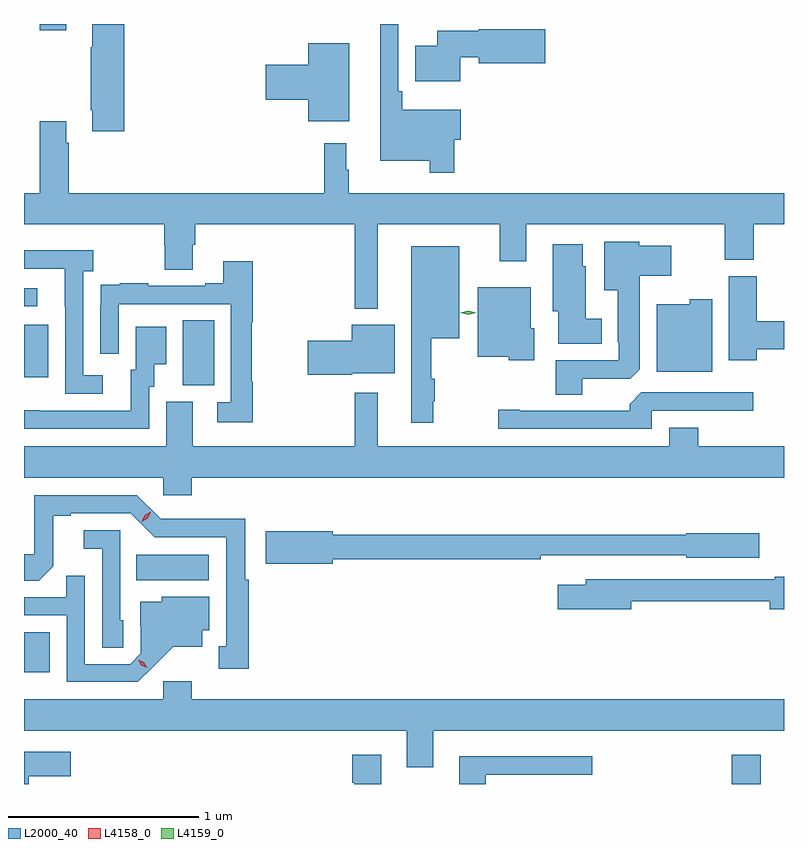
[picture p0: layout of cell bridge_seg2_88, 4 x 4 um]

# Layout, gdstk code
import gdstk
lib = gdstk.Library(unit=1e-6, precision=1e-09)
def R(c, l, rs):  # rectangles x0, y0, x1, y1
    for r in rs: c.add(gdstk.rectangle(r[:2], r[2:], *l))
def P(c, l, *ps):  # polygons
    for p in ps: c.add(gdstk.Polygon(p, *l))
L2000_40 = (2000, 40)
L4158_0 = (4158, 0)
L4159_0 = (4159, 0)

bridge_seg2_88 = lib.new_cell('bridge_seg2_88')
R(bridge_seg2_88, L2000_40, [(327.647,639.363,327.799,639.517), (323.922,639.95,324.058,640.162), (324.514,640.436,324.895,640.57), (324.758,641.461,324.922,641.804), (323.922,641.505,324.049,641.779), (323.922,641.877,323.992,641.973), (324.005,643.329,324.145,643.363)])
P(bridge_seg2_88, L2000_40, [(324.449,643.363),(324.281,643.363),(324.281,643.241),(324.274,643.241),(324.274,642.91),(324.281,642.91),(324.281,642.798),(324.449,642.798)],
  [(326.186,642.755),(326.221,642.755),(326.221,642.913),(325.913,642.913),(325.913,643.009),(325.893,643.009),(325.893,643.363),(325.796,643.363),(325.796,642.644),(326.058,642.644),(326.058,642.579),(326.186,642.579)],
  [(326.218,643.187),(326.316,643.187),(326.316,643.157),(326.665,643.157),(326.665,643.335),(326.316,643.335),(326.316,643.327),(326.096,643.327),(326.096,643.249),(325.982,643.249),(325.982,643.061),(326.218,643.061)],
  [(325.633,643.261),(325.418,643.261),(325.418,643.148),(325.194,643.148),(325.194,642.965),(325.418,642.965),(325.418,642.851),(325.633,642.851)],
  [(325.783,642.308),(326.426,642.308),(326.426,642.114),(326.566,642.114),(326.566,642.308),(327.611,642.308),(327.611,642.121),(327.764,642.121),(327.764,642.308),(327.922,642.308),(327.922,642.472),(325.63,642.472),(325.63,642.596),(325.618,642.596),(325.618,642.736),(325.501,642.736),(325.501,642.472),(324.158,642.472),(324.158,642.737),(324.145,642.737),(324.145,642.85),(324.005,642.85),(324.005,642.472),(323.922,642.472),(323.922,642.308),(324.659,642.308),(324.659,642.195),(324.664,642.195),(324.664,642.07),(324.811,642.07),(324.811,642.202),(324.824,642.202),(324.824,642.308),(325.662,642.308),(325.662,641.864),(325.783,641.864)],
  [(326.86,641.496),(327.114,641.496),(327.163,641.545),(327.163,642.038),(327.328,642.038),(327.328,642.196),(327.159,642.196),(327.159,642.217),(326.975,642.217),(326.975,641.963),(327.047,641.963),(327.047,641.689),(327.051,641.689),(327.051,641.592),(326.72,641.592),(326.72,641.413),(326.86,641.413)],
  [(326.962,641.812),(326.878,641.812),(326.878,642.087),(326.863,642.087),(326.863,642.205),(326.705,642.205),(326.705,641.852),(326.735,641.852),(326.735,641.681),(326.962,641.681)],
  [(326.075,641.377),(326.083,641.377),(326.083,641.495),(326.065,641.495),(326.065,641.708),(326.212,641.708),(326.212,642.193),(325.961,642.193),(325.961,641.265),(326.075,641.265)],
  [(324.337,641.514),(324.234,641.514),(324.234,642.062),(324.286,642.062),(324.286,642.172),(323.922,642.172),(323.922,642.075),(324.137,642.075),(324.137,641.875),(324.138,641.875),(324.138,641.418),(324.337,641.418)],
  [(325.127,641.48),(325.12,641.48),(325.12,641.792),(325.127,641.792),(325.127,642.115),(324.971,642.115),(324.971,641.998),(324.875,641.998),(324.875,641.985),(324.575,641.985),(324.575,641.998),(324.427,641.998),(324.427,641.991),(324.325,641.991),(324.325,641.882),(324.324,641.882),(324.324,641.628),(324.42,641.628),(324.42,641.889),(325.011,641.889),(325.011,641.373),(324.939,641.373),(324.939,641.268),(325.127,641.268)],
  [(327.779,641.651),(327.922,641.651),(327.922,641.798),(327.779,641.798),(327.779,642.036),(327.632,642.036),(327.632,641.592),(327.779,641.592)],
  [(326.608,641.763),(326.59,641.763),(326.59,641.977),(326.309,641.977),(326.309,641.612),(326.472,641.612),(326.472,641.594),(326.608,641.594)],
  [(327.544,641.914),(327.426,641.914),(327.426,641.887),(327.251,641.887),(327.251,641.534),(327.544,641.534)],
  [(325.65,641.525),(325.873,641.525),(325.873,641.779),(325.646,641.779),(325.646,641.696),(325.416,641.696),(325.416,641.518),(325.65,641.518)],
  [(324.582,641.454),(324.607,641.454),(324.607,641.573),(324.67,641.573),(324.67,641.77),(324.509,641.77),(324.509,641.544),(324.485,641.544),(324.485,641.328),(324.001,641.328),(324.001,641.329),(323.922,641.329),(323.922,641.232),(324.582,641.232)],
  [(327.225,641.328),(327.76,641.328),(327.76,641.424),(327.171,641.424),(327.11,641.362),(327.11,641.328),(326.53,641.328),(326.53,641.333),(326.418,641.333),(326.418,641.232),(327.225,641.232)],
  [(327.317,641.239),(327.317,641.14),(325.783,641.14),(325.783,641.422),(325.662,641.422),(325.662,641.14),(324.811,641.14),(324.811,641.376),(324.671,641.376),(324.671,641.14),(323.922,641.14),(323.922,640.976),(324.654,640.976),(324.654,640.883),(324.806,640.883),(324.806,640.976),(327.922,640.976),(327.922,641.14),(327.47,641.14),(327.47,641.239)],
  [(325.105,640.439),(325.087,640.439),(325.087,640.76),(324.864,640.76),(324.864,640.758),(324.642,640.758),(324.516,640.884),(323.976,640.884),(323.976,640.572),(323.922,640.572),(323.922,640.432),(323.999,640.432),(324.075,640.508),(324.075,640.776),(324.169,640.776),(324.169,640.788),(324.483,640.788),(324.609,640.662),(324.986,640.662),(324.986,640.089),(324.947,640.089),(324.947,639.969),(325.105,639.969)],
  [(324.444,640.224),(324.429,640.224),(324.429,640.698),(324.237,640.698),(324.237,640.601),(324.333,640.601),(324.333,640.081),(324.444,640.081)],
  [(325.546,640.546),(326.642,640.546),(326.642,640.566),(327.408,640.566),(327.408,640.553),(327.793,640.553),(327.793,640.683),(327.408,640.683),(327.408,640.675),(325.546,640.675),(325.546,640.693),(325.194,640.693),(325.194,640.523),(325.546,640.523)],
  [(324.604,639.983),(324.707,640.085),(324.859,640.085),(324.859,640.172),(324.898,640.172),(324.898,640.348),(324.648,640.348),(324.648,640.321),(324.533,640.321),(324.533,640.192),(324.537,640.192),(324.537,640.05),(324.48,639.993),(324.243,639.993),(324.243,640.46),(324.145,640.46),(324.145,640.347),(323.922,640.347),(323.922,640.251),(324.147,640.251),(324.147,639.9),(324.52,639.9)],
  [(327.118,640.324),(327.848,640.324),(327.848,640.282),(327.922,640.282),(327.922,640.453),(327.872,640.453),(327.872,640.44),(326.879,640.44),(326.879,640.411),(326.73,640.411),(326.73,640.282),(327.118,640.282)],
  [(326.077,639.644),(327.922,639.644),(327.922,639.808),(324.806,639.808),(324.806,639.904),(324.654,639.904),(324.654,639.808),(323.922,639.808),(323.922,639.644),(325.937,639.644),(325.937,639.45),(326.077,639.45)],
  [(323.947,639.403),(324.169,639.403),(324.169,639.532),(323.922,639.532),(323.922,639.363),(323.947,639.363)],
  [(325.801,639.517),(325.649,639.517),(325.649,639.369),(325.661,639.369),(325.661,639.363),(325.801,639.363)],
  [(326.353,639.411),(326.914,639.411),(326.914,639.508),(326.213,639.508),(326.213,639.363),(326.353,639.363)])
P(bridge_seg2_88, L4158_0, [(324.541,640.744),(324.541,640.744),(324.558,640.777),(324.589,640.796),(324.589,640.796),(324.589,640.796),(324.572,640.763),(324.541,640.744)],
  [(324.571,639.975),(324.54,639.989),(324.522,640.018),(324.522,640.018),(324.522,640.018),(324.553,640.004),(324.571,639.975),(324.571,639.975)])
P(bridge_seg2_88, L4159_0, [(326.26,641.834),(326.219,641.844),(326.219,641.844),(326.219,641.844),(326.26,641.854),(326.301,641.844),(326.301,641.844),(326.301,641.844)])

lib.write_gds('bridge_seg2_88.gds')
